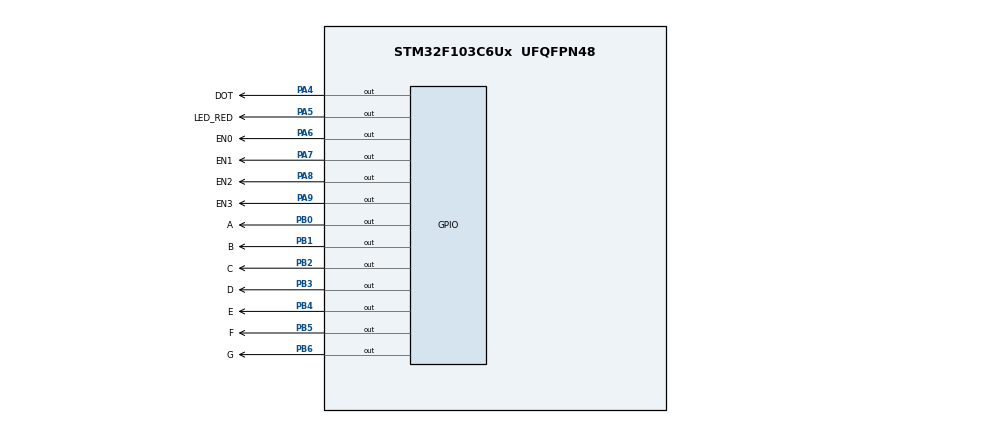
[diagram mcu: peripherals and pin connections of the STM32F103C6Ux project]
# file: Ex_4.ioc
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Mcu.Family=STM32F1
Mcu.Name=STM32F103C6Ux
Mcu.Package=UFQFPN48
NVIC.PriorityGroup=NVIC_PRIORITYGROUP_4
NVIC.TIM2_IRQn=true\:0\:0\:false\:false\:true\:true\:true
PA4.GPIO_Label=DOT
PA4.Signal=GPIO_Output
PA5.GPIO_Label=LED_RED
PA5.Signal=GPIO_Output
PA6.GPIO_Label=EN0
PA6.Signal=GPIO_Output
PA7.GPIO_Label=EN1
PA7.Signal=GPIO_Output
PA8.GPIO_Label=EN2
PA8.Signal=GPIO_Output
PA9.GPIO_Label=EN3
PA9.Signal=GPIO_Output
PB0.GPIO_Label=A
PB0.Signal=GPIO_Output
PB1.GPIO_Label=B
PB1.Signal=GPIO_Output
PB2.GPIO_Label=C
PB2.Signal=GPIO_Output
PB3.GPIO_Label=D
PB3.Signal=GPIO_Output
PB4.GPIO_Label=E
PB4.Signal=GPIO_Output
PB5.GPIO_Label=F
PB5.Signal=GPIO_Output
PB6.GPIO_Label=G
PB6.Signal=GPIO_Output
ProjectManager.HeapSize=0x200
ProjectManager.StackSize=0x400
ProjectManager.TargetToolchain=STM32CubeIDE
RCC.APB1Freq_Value=8000000
RCC.APB2Freq_Value=8000000
TIM2.Period=249
TIM2.Prescaler=7999
VP_SYS_VS_ND.Mode=No_Debug
VP_TIM2_VS_ClockSourceINT.Mode=Internal
board=custom

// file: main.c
/* USER CODE BEGIN Header */
/**
  ******************************************************************************
  * @file           : main.c
  * @brief          : Main program body
  ******************************************************************************
  * @attention
  *
  * <h2><center>&copy; Copyright (c) 2024 STMicroelectronics.
  * All rights reserved.</center></h2>
  *
  * This software component is licensed by ST under BSD 3-Clause license,
  * the "License"; You may not use this file except in compliance with the
  * License. You may obtain a copy of the License at:
  *                        opensource.org/licenses/BSD-3-Clause
  *
  ******************************************************************************
  */
/* USER CODE END Header */
#include "main.h"

TIM_HandleTypeDef htim2;

void SystemClock_Config(void);
static void MX_GPIO_Init(void);
static void MX_TIM2_Init(void);

int main(void)
{

  /* MCU Configuration--------------------------------------------------------*/

  /* Reset of all peripherals, Initializes the Flash interface and the Systick. */
  HAL_Init();

  /* Configure the system clock */
  SystemClock_Config();

  /* Initialize all configured peripherals */
  MX_GPIO_Init();
  MX_TIM2_Init();
  /* USER CODE BEGIN 2 */
  HAL_TIM_Base_Start_IT(&htim2);

  /* USER CODE END 2 */

  /* Infinite loop */
  while (1)
  {

  }
}

void SystemClock_Config(void)
{
  RCC_OscInitTypeDef RCC_OscInitStruct = {0};
  RCC_ClkInitTypeDef RCC_ClkInitStruct = {0};

  /** Initializes the RCC Oscillators according to the specified parameters
  * in the RCC_OscInitTypeDef structure.
  */
  RCC_OscInitStruct.OscillatorType = RCC_OSCILLATORTYPE_HSI;
  RCC_OscInitStruct.HSIState = RCC_HSI_ON;
  RCC_OscInitStruct.HSICalibrationValue = RCC_HSICALIBRATION_DEFAULT;
  RCC_OscInitStruct.PLL.PLLState = RCC_PLL_NONE;
  if (HAL_RCC_OscConfig(&RCC_OscInitStruct) != HAL_OK)
  {
    Error_Handler();
  }
  /** Initializes the CPU, AHB and APB buses clocks
  */
  RCC_ClkInitStruct.ClockType = RCC_CLOCKTYPE_HCLK|RCC_CLOCKTYPE_SYSCLK
                              |RCC_CLOCKTYPE_PCLK1|RCC_CLOCKTYPE_PCLK2;
  RCC_ClkInitStruct.SYSCLKSource = RCC_SYSCLKSOURCE_HSI;
  RCC_ClkInitStruct.AHBCLKDivider = RCC_SYSCLK_DIV1;
  RCC_ClkInitStruct.APB1CLKDivider = RCC_HCLK_DIV1;
  RCC_ClkInitStruct.APB2CLKDivider = RCC_HCLK_DIV1;

  if (HAL_RCC_ClockConfig(&RCC_ClkInitStruct, FLASH_LATENCY_0) != HAL_OK)
  {
    Error_Handler();
  }
}

static void MX_TIM2_Init(void)
{

  TIM_ClockConfigTypeDef sClockSourceConfig = {0};
  TIM_MasterConfigTypeDef sMasterConfig = {0};

  htim2.Instance = TIM2;
  htim2.Init.Prescaler = 7999;
  htim2.Init.CounterMode = TIM_COUNTERMODE_UP;
  htim2.Init.Period = 249;
  htim2.Init.ClockDivision = TIM_CLOCKDIVISION_DIV1;
  htim2.Init.AutoReloadPreload = TIM_AUTORELOAD_PRELOAD_DISABLE;
  if (HAL_TIM_Base_Init(&htim2) != HAL_OK)
  {
    Error_Handler();
  }
  sClockSourceConfig.ClockSource = TIM_CLOCKSOURCE_INTERNAL;
  if (HAL_TIM_ConfigClockSource(&htim2, &sClockSourceConfig) != HAL_OK)
  {
    Error_Handler();
  }
  sMasterConfig.MasterOutputTrigger = TIM_TRGO_RESET;
  sMasterConfig.MasterSlaveMode = TIM_MASTERSLAVEMODE_DISABLE;
  if (HAL_TIMEx_MasterConfigSynchronization(&htim2, &sMasterConfig) != HAL_OK)
  {
    Error_Handler();
  }

}

static void MX_GPIO_Init(void)
{
  GPIO_InitTypeDef GPIO_InitStruct = {0};

  /* GPIO Ports Clock Enable */
  __HAL_RCC_GPIOA_CLK_ENABLE();
  __HAL_RCC_GPIOB_CLK_ENABLE();

  /*Configure GPIO pin Output Level */
  HAL_GPIO_WritePin(GPIOA, DOT_Pin|LED_RED_Pin|EN0_Pin|EN1_Pin
                          |EN2_Pin|EN3_Pin, GPIO_PIN_RESET);

  /*Configure GPIO pin Output Level */
  HAL_GPIO_WritePin(GPIOB, A_Pin|B_Pin|C_Pin|D_Pin
                          |E_Pin|F_Pin|G_Pin, GPIO_PIN_RESET);

  /*Configure GPIO pins : DOT_Pin LED_RED_Pin EN0_Pin EN1_Pin
                           EN2_Pin EN3_Pin */
  GPIO_InitStruct.Pin = DOT_Pin|LED_RED_Pin|EN0_Pin|EN1_Pin
                          |EN2_Pin|EN3_Pin;
  GPIO_InitStruct.Mode = GPIO_MODE_OUTPUT_PP;
  GPIO_InitStruct.Pull = GPIO_NOPULL;
  GPIO_InitStruct.Speed = GPIO_SPEED_FREQ_LOW;
  HAL_GPIO_Init(GPIOA, &GPIO_InitStruct);

  /*Configure GPIO pins : A_Pin B_Pin C_Pin D_Pin
                           E_Pin F_Pin G_Pin */
  GPIO_InitStruct.Pin = A_Pin|B_Pin|C_Pin|D_Pin
                          |E_Pin|F_Pin|G_Pin;
  GPIO_InitStruct.Mode = GPIO_MODE_OUTPUT_PP;
  GPIO_InitStruct.Pull = GPIO_NOPULL;
  GPIO_InitStruct.Speed = GPIO_SPEED_FREQ_LOW;
  HAL_GPIO_Init(GPIOB, &GPIO_InitStruct);

}

/* USER CODE BEGIN 4 */
void display7SEG(int num) {
	HAL_GPIO_WritePin(A_GPIO_Port, A_Pin, SET);
	HAL_GPIO_WritePin(B_GPIO_Port, B_Pin, SET);
	HAL_GPIO_WritePin(C_GPIO_Port, C_Pin, SET);
	HAL_GPIO_WritePin(D_GPIO_Port, D_Pin, SET);
	HAL_GPIO_WritePin(E_GPIO_Port, E_Pin, SET);
	HAL_GPIO_WritePin(F_GPIO_Port, F_Pin, SET);
	HAL_GPIO_WritePin(G_GPIO_Port, G_Pin, SET);

	switch (num) {
	    case 0:
	        HAL_GPIO_WritePin(A_GPIO_Port, A_Pin, RESET);
	        HAL_GPIO_WritePin(B_GPIO_Port, B_Pin, RESET);
	        HAL_GPIO_WritePin(C_GPIO_Port, C_Pin, RESET);
	        HAL_GPIO_WritePin(D_GPIO_Port, D_Pin, RESET);
	        HAL_GPIO_WritePin(E_GPIO_Port, E_Pin, RESET);
	        HAL_GPIO_WritePin(F_GPIO_Port, F_Pin, RESET);
	        break;
	    case 1:
	        HAL_GPIO_WritePin(B_GPIO_Port, B_Pin, RESET);
	        HAL_GPIO_WritePin(C_GPIO_Port, C_Pin, RESET);
	        break;
	    case 2:
	        HAL_GPIO_WritePin(A_GPIO_Port, A_Pin, RESET);
	        HAL_GPIO_WritePin(B_GPIO_Port, B_Pin, RESET);
	        HAL_GPIO_WritePin(D_GPIO_Port, D_Pin, RESET);
	        HAL_GPIO_WritePin(E_GPIO_Port, E_Pin, RESET);
	        HAL_GPIO_WritePin(G_GPIO_Port, G_Pin, RESET);
	        break;
	    case 3:
	        HAL_GPIO_WritePin(A_GPIO_Port, A_Pin, RESET);
	        HAL_GPIO_WritePin(B_GPIO_Port, B_Pin, RESET);
	        HAL_GPIO_WritePin(C_GPIO_Port, C_Pin, RESET);
	        HAL_GPIO_WritePin(D_GPIO_Port, D_Pin, RESET);
	        HAL_GPIO_WritePin(G_GPIO_Port, G_Pin, RESET);
	        break;
	    case 4:
	        HAL_GPIO_WritePin(B_GPIO_Port, B_Pin, RESET);
	        HAL_GPIO_WritePin(C_GPIO_Port, C_Pin, RESET);
	        HAL_GPIO_WritePin(F_GPIO_Port, F_Pin, RESET);
	        HAL_GPIO_WritePin(G_GPIO_Port, G_Pin, RESET);
	        break;
	    case 5:
	        HAL_GPIO_WritePin(A_GPIO_Port, A_Pin, RESET);
	        HAL_GPIO_WritePin(C_GPIO_Port, C_Pin, RESET);
	        HAL_GPIO_WritePin(D_GPIO_Port, D_Pin, RESET);
	        HAL_GPIO_WritePin(F_GPIO_Port, F_Pin, RESET);
	        HAL_GPIO_WritePin(G_GPIO_Port, G_Pin, RESET);
	        break;
	    case 6:
	        HAL_GPIO_WritePin(A_GPIO_Port, A_Pin, RESET);
	        HAL_GPIO_WritePin(C_GPIO_Port, C_Pin, RESET);
	        HAL_GPIO_WritePin(D_GPIO_Port, D_Pin, RESET);
	        HAL_GPIO_WritePin(E_GPIO_Port, E_Pin, RESET);
	        HAL_GPIO_WritePin(F_GPIO_Port, F_Pin, RESET);
	        HAL_GPIO_WritePin(G_GPIO_Port, G_Pin, RESET);
	        break;
	    case 7:
	        HAL_GPIO_WritePin(A_GPIO_Port, A_Pin, RESET);
	        HAL_GPIO_WritePin(B_GPIO_Port, B_Pin, RESET);
	        HAL_GPIO_WritePin(C_GPIO_Port, C_Pin, RESET);
	        break;
	    case 8:
	        HAL_GPIO_WritePin(A_GPIO_Port, A_Pin, RESET);
	        HAL_GPIO_WritePin(B_GPIO_Port, B_Pin, RESET);
	        HAL_GPIO_WritePin(C_GPIO_Port, C_Pin, RESET);
	        HAL_GPIO_WritePin(D_GPIO_Port, D_Pin, RESET);
	        HAL_GPIO_WritePin(E_GPIO_Port, E_Pin, RESET);
	        HAL_GPIO_WritePin(F_GPIO_Port, F_Pin, RESET);
	        HAL_GPIO_WritePin(G_GPIO_Port, G_Pin, RESET);
	        break;
	    case 9:
	        HAL_GPIO_WritePin(A_GPIO_Port, A_Pin, RESET);
	        HAL_GPIO_WritePin(B_GPIO_Port, B_Pin, RESET);
	        HAL_GPIO_WritePin(C_GPIO_Port, C_Pin, RESET);
	        HAL_GPIO_WritePin(D_GPIO_Port, D_Pin, RESET);
	        HAL_GPIO_WritePin(F_GPIO_Port, F_Pin, RESET);
	        HAL_GPIO_WritePin(G_GPIO_Port, G_Pin, RESET);
	        break;
	    default:
	        break;
	}
}
const int MAX_LED = 4;
int index_led = 0;
int led_buffer[4] = {1, 2, 3, 4};

void update7SEG(int index) {
	HAL_GPIO_WritePin(GPIOA, EN0_Pin,  GPIO_PIN_SET);
	HAL_GPIO_WritePin(GPIOA, EN1_Pin,  GPIO_PIN_SET);
	HAL_GPIO_WritePin(GPIOA, EN2_Pin,  GPIO_PIN_SET);
	HAL_GPIO_WritePin(GPIOA, EN3_Pin,  GPIO_PIN_SET);
    switch (index) {
        case 0:
        	HAL_GPIO_WritePin(GPIOA, EN0_Pin,  GPIO_PIN_RESET);
            display7SEG(led_buffer[0]);
            break;
        case 1:
        	HAL_GPIO_WritePin(GPIOA, EN1_Pin,  GPIO_PIN_RESET);
            display7SEG(led_buffer[1]);
            break;
        case 2:
        	HAL_GPIO_WritePin(GPIOA, EN2_Pin,  GPIO_PIN_RESET);
            display7SEG(led_buffer[2]);
            break;
        case 3:
        	HAL_GPIO_WritePin(GPIOA, EN3_Pin,  GPIO_PIN_RESET);
            display7SEG(led_buffer[3]);
            break;
        default:
            break;
    }
}

void HAL_TIM_PeriodElapsedCallback(TIM_HandleTypeDef *htim) {
	if (index_led == 3 || index_led == 1) HAL_GPIO_TogglePin(GPIOA, DOT_Pin);
	update7SEG(index_led);
	index_led = (index_led + 1) % MAX_LED;
}
/* USER CODE END 4 */

void Error_Handler(void)
{
  __disable_irq();
  while (1)
  {
  }
}

/************************ (C) COPYRIGHT STMicroelectronics *****END OF FILE****/
